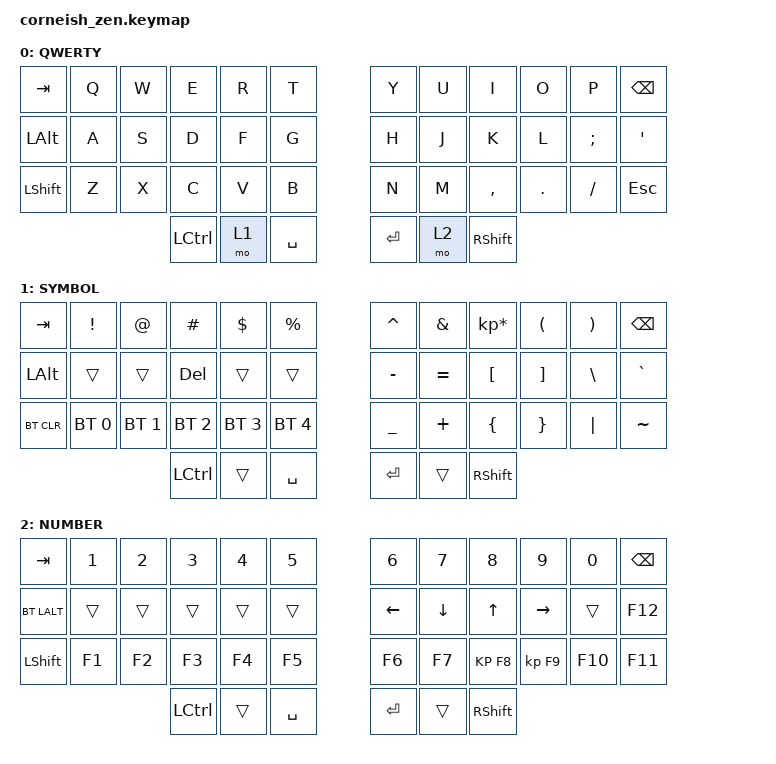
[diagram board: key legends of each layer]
#include <behaviors.dtsi>
#include <dt-bindings/zmk/keys.h>
#include <dt-bindings/zmk/bt.h>

/ {
  chosen {
    zmk,matrix_transform = &default_transform;
    //zmk,matrix_transform = &five_column_transform;
  };
};

/ {
        keymap {
                compatible = "zmk,keymap";

                default_layer {
                        label = "QWERTY";
// -----------------------------------------------------------------------------------------
// |  TAB |  Q  |  W  |  E  |  R  |  T  |   |  Y  |  U   |  I  |  O  |  P  | BKSP |
// | ALT  |  A  |  S  |  D  |  F  |  G  |   |  H  |  J   |  K  |  L  |  ;  |  '   |
// | SHFT |  Z  |  X  |  C  |  V  |  B  |   |  N  |  M   |  ,  |  .  |  /  | ESC  |
//                    | CTRL| LWR | SPC |   | ENT | RSE  | SHFT|
                        bindings = <
   &kp TAB   &kp Q &kp W &kp E &kp R &kp T   &kp Y &kp U  &kp I     &kp O   &kp P    &kp BSPC
   &kp LALT  &kp A &kp S &kp D &kp F &kp G   &kp H &kp J  &kp K     &kp L   &kp SEMI &kp SQT
   &kp LSHFT &kp Z &kp X &kp C &kp V &kp B   &kp N &kp M  &kp COMMA &kp DOT &kp FSLH &kp ESC
                  &kp LCTRL &mo 1 &kp SPACE  &kp RET &mo 2 &kp RSHFT
                        >;
                };
                lower_layer {
                        label = "SYMBOL";
// -----------------------------------------------------------------------------------------
// |  TAB |  !  |  @  |  #  |  $  |  %  |   |  ^  |  &  |  *  |  (  |  )  | BKSP |
// | ALT  |     |     | DEL |     |     |   |  -  |  =  |  [  |  ]  |  \  |  `   |
// | BTCLR| BT1 | BT2 | BT3 | BT4 | BT5 |   |  _  |  +  |  {  |  }  | "|" |  ~   |
//                    | CTRL|     | SPC |   | ENT |     | SHFT|
                        bindings = <
   &kp  TAB  &kp EXCL &kp AT &kp HASH &kp DLLR &kp PRCNT   &kp CARET &kp AMPS  &kp KP_MULTIPLY &kp LPAR &kp RPAR &kp BSPC
  &kp LALT &trans   &trans &kp DEL   &trans   &trans          &kp MINUS &kp EQUAL &kp LBKT        &kp RBKT &kp BSLH &kp GRAVE
   &bt BT_CLR &bt BT_SEL 0 &bt BT_SEL 1 &bt BT_SEL 2 &bt BT_SEL 3 &bt BT_SEL 4      &kp UNDER &kp PLUS  &kp LBRC        &kp RBRC &kp PIPE &kp TILDE
                    	     &kp LCTRL &trans  &kp SPACE   &kp RET   &trans    &kp RSHFT
                        >;
                };

                raise_layer {
                        label = "NUMBER";
// -----------------------------------------------------------------------------------------
// |  TAB |  1  |  2  |  3  |  4  |  5  |   |  6  |  7  |  8  |  9  |  0  | BKSP |
// | LALT |     |     |     |     |     |   | LFT | DWN |  UP | RGT |     | F12  |
// | SHFT |  F1 |  F2 |  F3 |  F4 |  F5 |   |  F6 |  F7 |  F8 |  F9 |  F10| F11  |
//                    | CTRL|     | SPC |   | ENT |     | SHFT|
                        bindings = <
   &kp TAB    &kp N1       &kp N2       &kp N3       &kp N4       &kp N5         &kp N6   &kp N7   &kp N8 &kp N9    &kp N0 &kp BSPC
   &bt LALT &trans &trans &trans &trans &trans       &kp LEFT &kp DOWN &kp UP &kp RIGHT &trans &kp F12
   &kp LSHFT  &kp F1 &kp F2       &kp F3       &kp F4       &kp F5         &kp F6   &kp F7   & KP F8 & kp F9    &kp F10 &kp F11
                          	        &kp LCTRL    &trans       &kp SPACE      &kp RET  &trans   &kp RSHFT
                        >;
                };
        };
};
